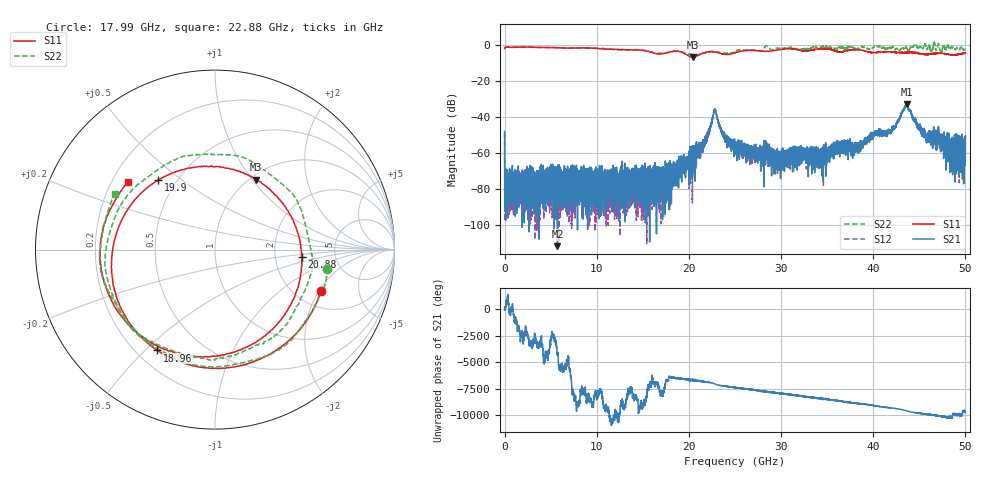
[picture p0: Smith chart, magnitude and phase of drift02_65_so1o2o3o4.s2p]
!Created with skrf (http://scikit-rf.org).
# Hz S RI R 50.0
!freq ReS11 ImS11 ReS21 ImS21 ReS12 ImS12 ReS22 ImS22
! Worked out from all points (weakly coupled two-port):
!   10001 points, 300 kHz to 50 GHz, reference 50 ohm
!   highest |S21| = -33.02 dB at 43.63 GHz (marker M1); lowest = -111.8 dB at 5.735 GHz (marker M2)
!   lowest |S11| = -6.9 dB at 20.4 GHz (marker M3), VSWR 2.64, Z = 53.1 + j52 ohm
!   |S11| at or under -10 dB: nowhere
!   |S22| runs from -5.7 to 2.3 dB; largest |S21 - S12| = 0.0043
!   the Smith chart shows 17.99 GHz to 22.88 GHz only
!   S11 on the Smith chart (normalised r, x): 17.99 GHz: 2.71, -2.08; 18.96 GHz: 0.28, -0.54; 19.9 GHz: 0.40, +0.41; 20.88 GHz: 2.84, -0.32; 22.88 GHz: 0.26, +0.32
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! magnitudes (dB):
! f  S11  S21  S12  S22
! 300 kHz  -2.1  -48.2  -49.2  -2.1
! 265.3 MHz  -1.4  -70.3  -75.0  -1.4
! 5.735 GHz  -1.7  -111.8  -78.5  -1.7
! 8.335 GHz  -1.7  -83.1  -79.3  -1.9
! 16.67 GHz  -5.2  -73.2  -75.0  -4.7
! 17.99 GHz  -4.0  -72.7  -70.4  -4.0
! 18.96 GHz  -3.8  -66.7  -69.3  -3.9
! 19.9 GHz  -6.0  -63.8  -63.8  -5.2
! 20.4 GHz  -6.9  -59.7  -66.1  -5.4
! 20.88 GHz  -6.3  -59.6  -58.2  -5.6
! 21.85 GHz  -4.2  -54.8  -52.6  -4.2
! 22.88 GHz  -4.2  -36.5  -36.2  -3.9
! 23.73 GHz  -5.3  -49.5  -49.4  -4.6
! 25 GHz  -4.5  -54.6  -56.0  -3.9
! 29.77 GHz  -2.8  -62.4  -62.4  -2.0
! 33.34 GHz  -3.0  -56.8  -62.4  -1.5
! 38.29 GHz  -2.8  -55.9  -57.1  -2.1
! 41.67 GHz  -4.0  -48.6  -47.6  -1.9
! 43.63 GHz  -4.6  -33.0  -33.6  -1.7
! 45.75 GHz  -5.4  -51.1  -51.9  -1.5
! 49.61 GHz  -5.0  -68.9  -57.2  -1.7
! 50 GHz  -4.7  -50.6  -55.8  -2.8
